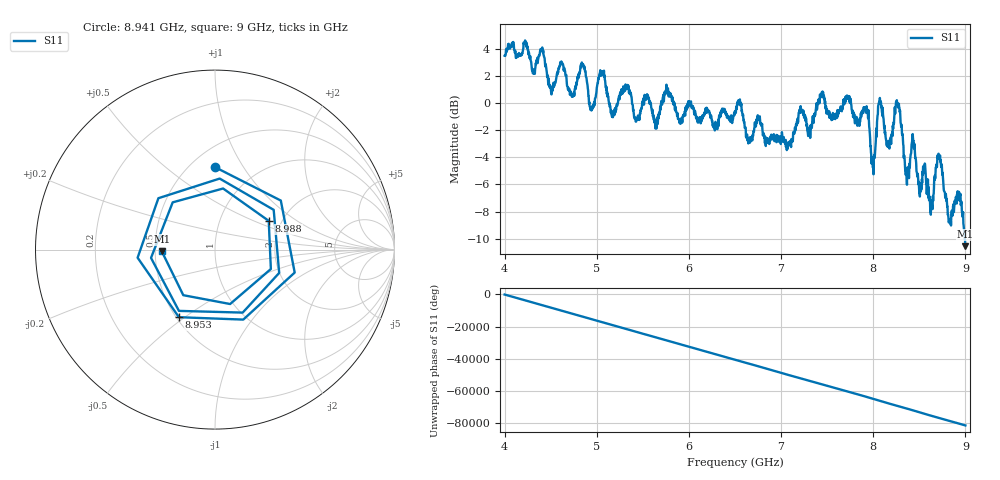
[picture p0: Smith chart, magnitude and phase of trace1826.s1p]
! Created with skrf 1.8.0 (http://scikit-rf.org).
# Hz S RI R 50.0
!freq ReS11 ImS11
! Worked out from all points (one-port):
!   1601 points, 4 GHz to 9 GHz, reference 50 ohm
!   lowest |S11| = -10.6 dB at 9 GHz (marker M1), VSWR 1.84, Z = 27.1 - j0.604 ohm
!   |S11| at or under -10 dB: 8.993681 GHz to end of sweep
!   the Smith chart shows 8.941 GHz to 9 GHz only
!   S11 on the Smith chart (normalised r, x): 8.941 GHz: 0.65, +0.76; 8.953 GHz: 0.52, -0.48; 8.988 GHz: 1.71, +0.62; 9 GHz: 0.54, -0.01
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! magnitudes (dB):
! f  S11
! 4 GHz  3.5
! 4.406 GHz  4.1
! 4.509 GHz  0.6
! 4.625 GHz  2.9
! 4.731 GHz  0.5
! 4.853 GHz  2.8
! 4.941 GHz  -0.4
! 5.053 GHz  2.3
! 5.166 GHz  -1.0
! 5.25 GHz  0.6
! 5.875 GHz  -0.9
! 6.5 GHz  -0.7
! 7.125 GHz  -2.7
! 7.75 GHz  0.0
! 7.928 GHz  -0.2
! 7.997 GHz  -4.8
! 8.069 GHz  0.0
! 8.169 GHz  -3.3
! 8.266 GHz  0.0
! 8.375 GHz  -5.0
! 8.438 GHz  -2.8
! 8.631 GHz  -7.8
! 8.719 GHz  -4.0
! 8.825 GHz  -8.8
! 8.941 GHz  -6.8
! 8.953 GHz  -7.4
! 8.988 GHz  -9.4
! 9 GHz  -10.6
